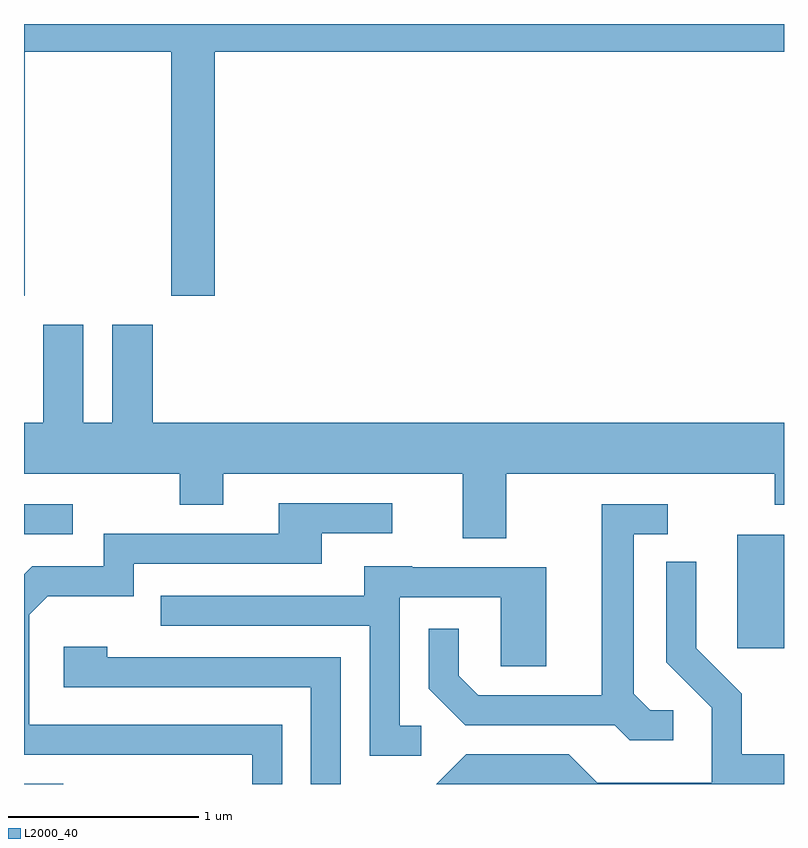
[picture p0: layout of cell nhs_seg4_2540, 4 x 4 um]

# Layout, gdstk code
import gdstk
lib = gdstk.Library(unit=1e-6, precision=1e-09)
def R(c, l, rs):  # rectangles x0, y0, x1, y1
    for r in rs: c.add(gdstk.rectangle(r[:2], r[2:], *l))
def P(c, l, *ps):  # polygons
    for p in ps: c.add(gdstk.Polygon(p, *l))
L2000_40 = (2000, 40)

nhs_seg4_2540 = lib.new_cell('nhs_seg4_2540')
R(nhs_seg4_2540, L2000_40, [(259.611,1301.982,259.818,1301.984), (263.366,1302.696,263.611,1303.294), (259.611,1303.296,259.868,1303.454)])
P(nhs_seg4_2540, L2000_40, [(259.614,1305.836),(260.386,1305.836),(260.386,1304.551),(260.614,1304.551),(260.614,1305.836),(263.611,1305.836),(263.611,1305.982),(259.611,1305.982),(259.611,1304.551),(259.614,1304.551)],
  [(262.149,1303.616),(263.561,1303.616),(263.561,1303.451),(263.611,1303.451),(263.611,1303.884),(260.289,1303.884),(260.289,1304.399),(260.076,1304.399),(260.076,1303.884),(259.924,1303.884),(259.924,1304.399),(259.711,1304.399),(259.711,1303.884),(259.611,1303.884),(259.611,1303.616),(260.431,1303.616),(260.431,1303.451),(260.659,1303.451),(260.659,1303.616),(261.921,1303.616),(261.921,1303.276),(262.149,1303.276)],
  [(260.969,1302.294),(259.639,1302.294),(259.639,1302.874),(259.736,1302.971),(260.189,1302.971),(260.189,1303.141),(261.179,1303.141),(261.179,1303.301),(261.548,1303.301),(261.548,1303.459),(260.951,1303.459),(260.951,1303.299),(260.031,1303.299),(260.031,1303.129),(259.654,1303.129),(259.611,1303.086),(259.611,1302.136),(260.811,1302.136),(260.811,1301.982),(260.969,1301.982)],
  [(263.028,1302.369),(262.907,1302.369),(262.819,1302.457),(262.819,1303.296),(262.998,1303.296),(262.998,1303.454),(262.651,1303.454),(262.651,1302.449),(262.002,1302.449),(261.899,1302.552),(261.899,1302.798),(261.741,1302.798),(261.741,1302.484),(261.933,1302.291),(262.719,1302.291),(262.799,1302.211),(263.028,1302.211)],
  [(263.611,1302.139),(263.389,1302.139),(263.389,1302.457),(263.149,1302.697),(263.149,1303.153),(262.991,1303.153),(262.991,1302.624),(263.231,1302.384),(263.231,1301.989),(262.627,1301.989),(262.477,1302.139),(261.939,1302.139),(261.782,1301.982),(263.611,1301.982)],
  [(261.703,1302.289),(261.589,1302.289),(261.589,1302.966),(262.121,1302.966),(262.121,1302.601),(262.359,1302.601),(262.359,1303.124),(261.655,1303.124),(261.655,1303.129),(261.401,1303.129),(261.401,1302.974),(260.332,1302.974),(260.332,1302.816),(261.431,1302.816),(261.431,1302.131),(261.703,1302.131)],
  [(261.279,1302.649),(260.049,1302.649),(260.049,1302.704),(259.821,1302.704),(259.821,1302.491),(261.121,1302.491),(261.121,1301.982),(261.279,1301.982)])

lib.write_gds('nhs_seg4_2540.gds')
